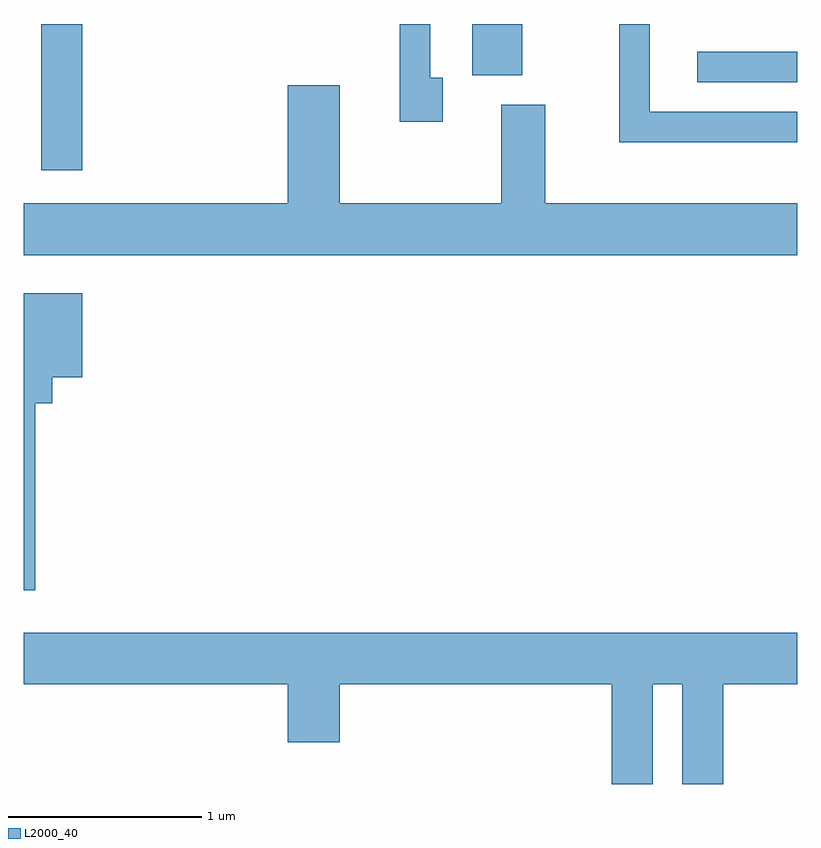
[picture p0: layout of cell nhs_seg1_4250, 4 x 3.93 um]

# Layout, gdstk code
import gdstk
lib = gdstk.Library(unit=1e-6, precision=1e-09)
def R(c, l, rs):  # rectangles x0, y0, x1, y1
    for r in rs: c.add(gdstk.rectangle(r[:2], r[2:], *l))
def P(c, l, *ps):  # polygons
    for p in ps: c.add(gdstk.Polygon(p, *l))
L2000_40 = (2000, 40)

nhs_seg1_4250 = lib.new_cell('nhs_seg1_4250')
R(nhs_seg1_4250, L2000_40, [(313.701,848.956,313.914,849.712), (317.093,849.411,317.611,849.569), (315.931,849.446,316.189,849.712)])
P(nhs_seg1_4250, L2000_40, [(317.611,849.259),(316.849,849.259),(316.849,849.712),(316.691,849.712),(316.691,849.101),(317.611,849.101)],
  [(315.779,849.434),(315.714,849.434),(315.714,849.712),(315.556,849.712),(315.556,849.206),(315.779,849.206)],
  [(317.611,848.784),(316.309,848.784),(316.309,849.294),(316.081,849.294),(316.081,848.784),(315.244,848.784),(315.244,849.394),(314.976,849.394),(314.976,848.784),(313.611,848.784),(313.611,848.516),(317.611,848.516)],
  [(313.669,847.751),(313.759,847.751),(313.759,847.886),(313.914,847.886),(313.914,848.319),(313.611,848.319),(313.611,846.783),(313.669,846.783)],
  [(316.864,846.296),(317.016,846.296),(317.016,845.781),(317.229,845.781),(317.229,846.296),(317.611,846.296),(317.611,846.564),(313.611,846.564),(313.611,846.296),(314.976,846.296),(314.976,845.996),(315.244,845.996),(315.244,846.296),(316.651,846.296),(316.651,845.781),(316.864,845.781)])

lib.write_gds('nhs_seg1_4250.gds')
